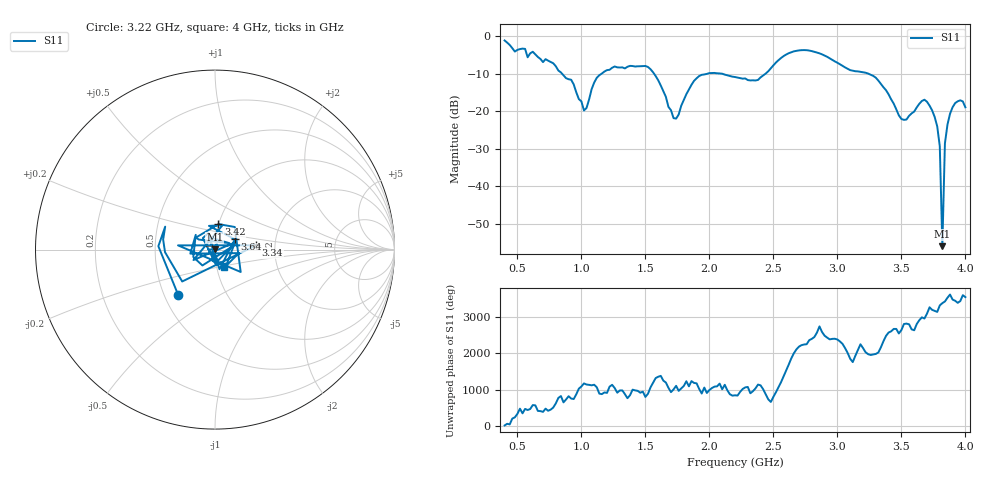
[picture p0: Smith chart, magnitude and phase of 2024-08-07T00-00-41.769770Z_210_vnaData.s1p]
!Created with skrf (http://scikit-rf.org).
# Hz S RI R 50.0
!freq ReS11 ImS11
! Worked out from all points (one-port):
!   181 points, 400 MHz to 4 GHz, reference 50 ohm
!   lowest |S11| = -55.9 dB at 3.82 GHz (marker M1), VSWR 1.00, Z = 49.9 + j0.115 ohm
!   |S11| at or under -10 dB: 1.567 GHz to 1.989 GHz (422.1 MHz wide, 23.7 % of centre); 2.088 GHz to 2.44 GHz (352.2 MHz wide, 15.6 % of centre); 3.24 GHz to end of sweep (the widest 3 of 4)
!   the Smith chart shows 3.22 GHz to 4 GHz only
!   S11 on the Smith chart (normalised r, x): 3.22 GHz: 0.59, -0.33; 3.34 GHz: 1.59, +0.08; 3.42 GHz: 1.00, +0.29; 3.64 GHz: 1.24, +0.15; 4 GHz: 1.09, -0.22
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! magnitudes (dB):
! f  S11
! 400 MHz  -1.2
! 860 MHz  -10.4
! 920 MHz  -11.7
! 1.02 GHz  -19.8
! 1.12 GHz  -11.1
! 1.3 GHz  -8.4
! 1.52 GHz  -8.3
! 1.72 GHz  -21.9
! 1.76 GHz  -20.9
! 1.92 GHz  -10.7
! 2.2 GHz  -10.9
! 2.38 GHz  -11.7
! 2.66 GHz  -4.1
! 3.1 GHz  -9.1
! 3.22 GHz  -9.8
! 3.34 GHz  -12.7
! 3.42 GHz  -16.9
! 3.5 GHz  -22.1
! 3.56 GHz  -21.2
! 3.64 GHz  -18.0
! 3.7 GHz  -17.5
! 3.78 GHz  -24.1
! 3.8 GHz  -29.4
! 3.82 GHz  -55.9
! 3.84 GHz  -28.6
! 3.86 GHz  -23.6
! 3.92 GHz  -17.9
! 4 GHz  -19.0
